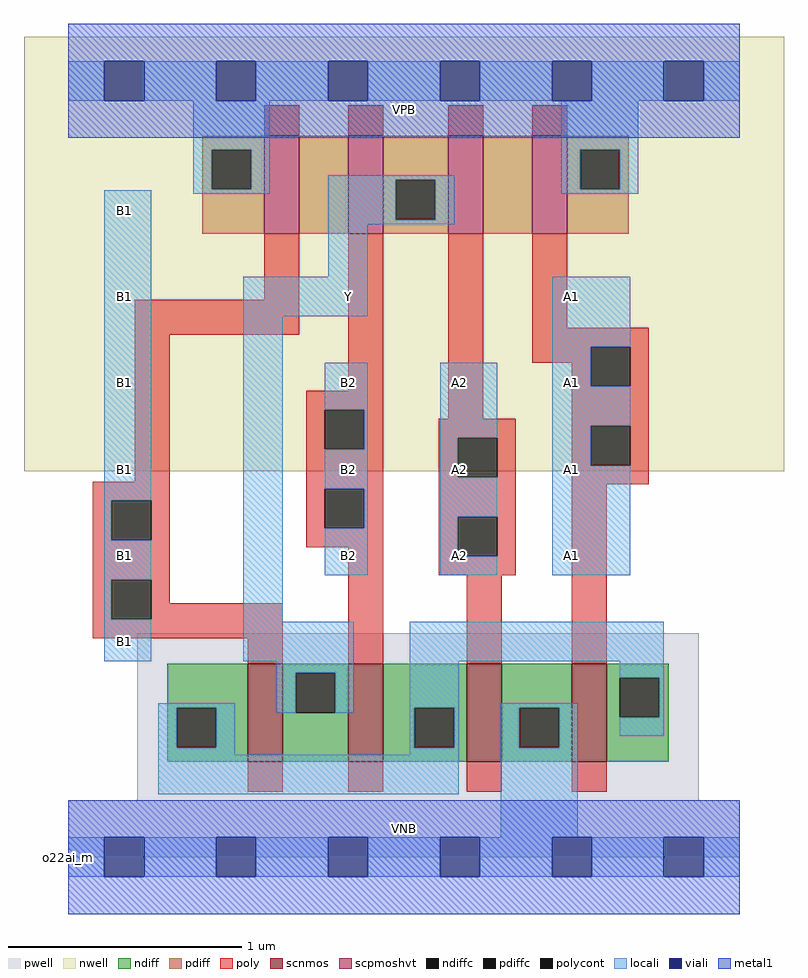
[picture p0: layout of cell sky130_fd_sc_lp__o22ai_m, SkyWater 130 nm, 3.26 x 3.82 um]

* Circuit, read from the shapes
.subckt sky130_fd_sc_lp__o22ai_m A1 A2 B1 B2 VGND VNB VPB VPWR Y
XM1 Y B1 n1 VNB sky130_fd_pr__nfet_01v8 w=0.42 l=0.15
XM2 n1 B2 Y VNB sky130_fd_pr__nfet_01v8 w=0.42 l=0.15
XM3 VGND A2 n1 VNB sky130_fd_pr__nfet_01v8 w=0.42 l=0.15
XM4 n1 A1 VGND VNB sky130_fd_pr__nfet_01v8 w=0.42 l=0.15
XM5 n2 B1 VPWR VPB sky130_fd_pr__pfet_01v8_hvt w=0.42 l=0.15
XM6 Y B2 n2 VPB sky130_fd_pr__pfet_01v8_hvt w=0.42 l=0.15
XM7 n3 A2 Y VPB sky130_fd_pr__pfet_01v8_hvt w=0.42 l=0.15
XM8 VPWR A1 n3 VPB sky130_fd_pr__pfet_01v8_hvt w=0.42 l=0.15
.ends

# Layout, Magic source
magic
tech sky130A
magscale 1 2
<< nwell >>
rect -38 331 614 704
<< pwell >>
rect 59 49 541 192
rect 0 0 576 49
<< scnmos >>
rect 154 82 184 166
rect 240 82 270 166
rect 342 82 372 166
rect 432 82 462 166
<< scpmoshvt >>
rect 168 535 198 619
rect 240 535 270 619
rect 326 535 356 619
rect 398 535 428 619
<< ndiff >>
rect 85 128 154 166
rect 85 94 93 128
rect 127 94 154 128
rect 85 82 154 94
rect 184 158 240 166
rect 184 124 195 158
rect 229 124 240 158
rect 184 82 240 124
rect 270 128 342 166
rect 270 94 297 128
rect 331 94 342 128
rect 270 82 342 94
rect 372 128 432 166
rect 372 94 387 128
rect 421 94 432 128
rect 372 82 432 94
rect 462 154 515 166
rect 462 120 473 154
rect 507 120 515 154
rect 462 82 515 120
<< pdiff >>
rect 115 607 168 619
rect 115 573 123 607
rect 157 573 168 607
rect 115 535 168 573
rect 198 535 240 619
rect 270 581 326 619
rect 270 547 281 581
rect 315 547 326 581
rect 270 535 326 547
rect 356 535 398 619
rect 428 607 481 619
rect 428 573 439 607
rect 473 573 481 607
rect 428 535 481 573
<< ndiffc >>
rect 93 94 127 128
rect 195 124 229 158
rect 297 94 331 128
rect 387 94 421 128
rect 473 120 507 154
<< pdiffc >>
rect 123 573 157 607
rect 281 547 315 581
rect 439 573 473 607
<< poly >>
rect 168 619 198 645
rect 240 619 270 645
rect 326 619 356 645
rect 398 619 428 645
rect 168 478 198 535
rect 57 448 198 478
rect 57 322 87 448
rect 240 400 270 535
rect 21 306 87 322
rect 21 272 37 306
rect 71 272 87 306
rect 21 238 87 272
rect 204 384 270 400
rect 204 350 220 384
rect 254 350 270 384
rect 326 376 356 535
rect 398 454 428 535
rect 398 438 498 454
rect 398 424 448 438
rect 432 404 448 424
rect 482 404 498 438
rect 204 316 270 350
rect 204 282 220 316
rect 254 282 270 316
rect 204 266 270 282
rect 21 204 37 238
rect 71 218 87 238
rect 71 204 184 218
rect 21 188 184 204
rect 154 166 184 188
rect 240 166 270 266
rect 318 360 384 376
rect 318 326 334 360
rect 368 326 384 360
rect 318 292 384 326
rect 318 258 334 292
rect 368 258 384 292
rect 318 242 384 258
rect 432 370 498 404
rect 432 336 448 370
rect 482 336 498 370
rect 432 320 498 336
rect 342 166 372 242
rect 432 166 462 320
rect 154 56 184 82
rect 240 56 270 82
rect 342 56 372 82
rect 432 56 462 82
<< polycont >>
rect 37 272 71 306
rect 220 350 254 384
rect 448 404 482 438
rect 220 282 254 316
rect 37 204 71 238
rect 334 326 368 360
rect 334 258 368 292
rect 448 336 482 370
<< locali >>
rect 0 649 31 683
rect 65 649 127 683
rect 161 649 223 683
rect 257 649 319 683
rect 353 649 415 683
rect 449 649 511 683
rect 545 649 576 683
rect 107 607 173 649
rect 107 573 123 607
rect 157 573 173 607
rect 423 607 489 649
rect 31 306 71 572
rect 107 569 173 573
rect 223 581 331 585
rect 223 547 281 581
rect 315 547 331 581
rect 423 573 439 607
rect 473 573 489 607
rect 423 569 489 573
rect 223 543 331 547
rect 223 498 257 543
rect 31 272 37 306
rect 31 238 71 272
rect 31 204 37 238
rect 31 168 71 204
rect 150 464 257 498
rect 150 202 184 464
rect 415 438 482 498
rect 220 384 257 424
rect 254 350 257 384
rect 220 316 257 350
rect 254 282 257 316
rect 220 242 257 282
rect 319 360 368 424
rect 319 326 334 360
rect 319 292 368 326
rect 319 258 334 292
rect 319 242 368 258
rect 415 404 448 438
rect 415 370 482 404
rect 415 336 448 370
rect 415 242 482 336
rect 150 168 245 202
rect 179 158 245 168
rect 77 128 143 132
rect 77 94 93 128
rect 127 94 143 128
rect 179 124 195 158
rect 229 124 245 158
rect 293 168 511 202
rect 293 128 335 168
rect 473 154 511 168
rect 77 88 143 94
rect 293 94 297 128
rect 331 94 335 128
rect 293 88 335 94
rect 77 54 335 88
rect 371 128 437 132
rect 371 94 387 128
rect 421 94 437 128
rect 507 120 511 154
rect 473 104 511 120
rect 371 17 437 94
rect 0 -17 31 17
rect 65 -17 127 17
rect 161 -17 223 17
rect 257 -17 319 17
rect 353 -17 415 17
rect 449 -17 511 17
rect 545 -17 576 17
<< viali >>
rect 31 649 65 683
rect 127 649 161 683
rect 223 649 257 683
rect 319 649 353 683
rect 415 649 449 683
rect 511 649 545 683
rect 31 -17 65 17
rect 127 -17 161 17
rect 223 -17 257 17
rect 319 -17 353 17
rect 415 -17 449 17
rect 511 -17 545 17
<< metal1 >>
rect 0 683 576 715
rect 0 649 31 683
rect 65 649 127 683
rect 161 649 223 683
rect 257 649 319 683
rect 353 649 415 683
rect 449 649 511 683
rect 545 649 576 683
rect 0 617 576 649
rect 0 17 576 49
rect 0 -17 31 17
rect 65 -17 127 17
rect 161 -17 223 17
rect 257 -17 319 17
rect 353 -17 415 17
rect 449 -17 511 17
rect 545 -17 576 17
rect 0 -49 576 -17
<< labels >>
flabel pwell s 0 0 576 49 0 FreeSans 200 0 0 0 VNB
port 6 nsew ground bidirectional
flabel nwell s 0 617 576 666 0 FreeSans 200 0 0 0 VPB
port 7 nsew power bidirectional
rlabel comment s 0 0 0 0 4 o22ai_m
flabel metal1 s 0 617 576 666 0 FreeSans 340 0 0 0 VPWR
port 8 nsew power bidirectional
flabel metal1 s 0 0 576 49 0 FreeSans 340 0 0 0 VGND
port 5 nsew ground bidirectional
flabel locali s 415 242 449 276 0 FreeSans 340 0 0 0 A1
port 1 nsew signal input
flabel locali s 415 316 449 350 0 FreeSans 340 0 0 0 A1
port 1 nsew signal input
flabel locali s 415 390 449 424 0 FreeSans 340 0 0 0 A1
port 1 nsew signal input
flabel locali s 415 464 449 498 0 FreeSans 340 0 0 0 A1
port 1 nsew signal input
flabel locali s 319 242 353 276 0 FreeSans 340 0 0 0 A2
port 2 nsew signal input
flabel locali s 319 316 353 350 0 FreeSans 340 0 0 0 A2
port 2 nsew signal input
flabel locali s 319 390 353 424 0 FreeSans 340 0 0 0 A2
port 2 nsew signal input
flabel locali s 223 464 257 498 0 FreeSans 340 0 0 0 Y
port 9 nsew signal output
flabel locali s 31 168 65 202 0 FreeSans 340 0 0 0 B1
port 3 nsew signal input
flabel locali s 31 242 65 276 0 FreeSans 340 0 0 0 B1
port 3 nsew signal input
flabel locali s 31 316 65 350 0 FreeSans 340 0 0 0 B1
port 3 nsew signal input
flabel locali s 31 390 65 424 0 FreeSans 340 0 0 0 B1
port 3 nsew signal input
flabel locali s 31 464 65 498 0 FreeSans 340 0 0 0 B1
port 3 nsew signal input
flabel locali s 31 538 65 572 0 FreeSans 340 0 0 0 B1
port 3 nsew signal input
flabel locali s 223 242 257 276 0 FreeSans 340 0 0 0 B2
port 4 nsew signal input
flabel locali s 223 316 257 350 0 FreeSans 340 0 0 0 B2
port 4 nsew signal input
flabel locali s 223 390 257 424 0 FreeSans 340 0 0 0 B2
port 4 nsew signal input
<< properties >>
string LEFsite unit
string LEFclass CORE
string FIXED_BBOX 0 0 576 666
string GDS_FILE $PDKPATH/libs.ref/sky130_fd_sc_lp/gds/sky130_fd_sc_lp.gds
string LEFsymmetry X Y R90
string GDS_END 1311130
string GDS_START 1304510
<< end >>
